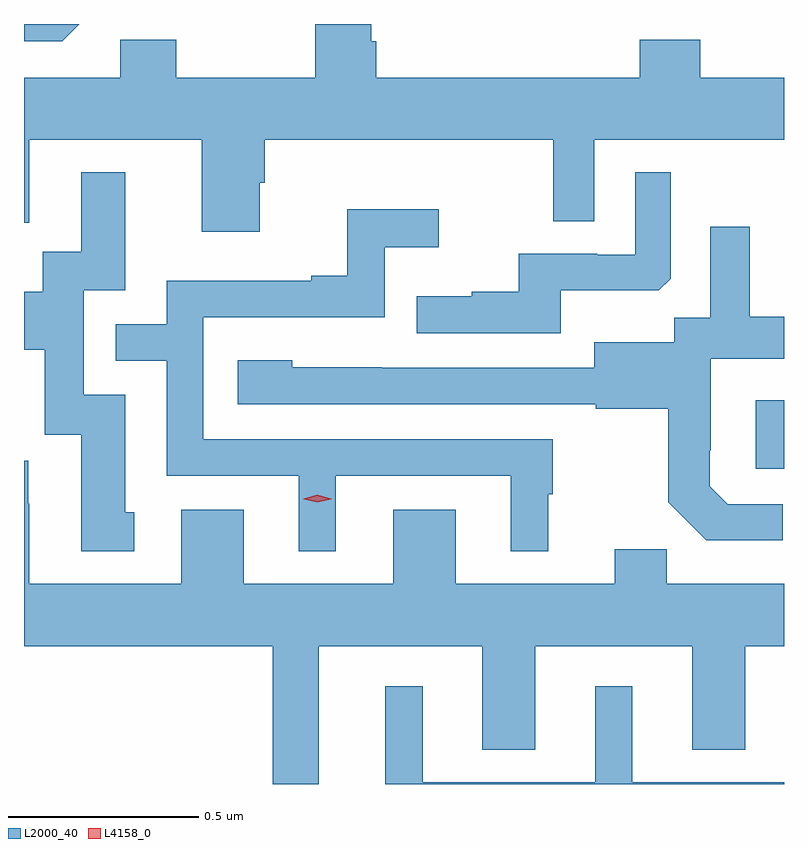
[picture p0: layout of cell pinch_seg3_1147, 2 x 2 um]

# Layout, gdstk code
import gdstk
lib = gdstk.Library(unit=1e-6, precision=1e-09)
def R(c, l, rs):  # rectangles x0, y0, x1, y1
    for r in rs: c.add(gdstk.rectangle(r[:2], r[2:], *l))
def P(c, l, *ps):  # polygons
    for p in ps: c.add(gdstk.Polygon(p, *l))
L2000_40 = (2000, 40)
L4158_0 = (4158, 0)

pinch_seg3_1147 = lib.new_cell('pinch_seg3_1147')
R(pinch_seg3_1147, L2000_40, [(169.313,741.342,169.387,741.523)])
P(pinch_seg3_1147, L2000_40, [(168.007,742.095),(168.02,742.095),(168.02,742.208),(168.78,742.208),(168.78,741.994),(168.888,741.994),(168.888,742.208),(169.387,742.208),(169.387,742.372),(169.167,742.372),(169.167,742.471),(169.007,742.471),(169.007,742.372),(168.314,742.372),(168.314,742.468),(168.301,742.468),(168.301,742.513),(168.154,742.513),(168.154,742.372),(167.787,742.372),(167.787,742.471),(167.64,742.471),(167.64,742.372),(167.387,742.372),(167.387,741.99),(167.401,741.99),(167.401,742.208),(167.855,742.208),(167.855,741.966),(168.007,741.966)],
  [(167.533,742.513),(167.387,742.513),(167.387,742.467),(167.487,742.467)],
  [(167.677,741.228),(167.653,741.228),(167.653,741.537),(167.544,741.537),(167.544,741.813),(167.653,741.813),(167.653,742.123),(167.537,742.123),(167.537,741.914),(167.436,741.914),(167.436,741.808),(167.387,741.808),(167.387,741.656),(167.441,741.656),(167.441,741.432),(167.537,741.432),(167.537,741.126),(167.677,741.126)],
  [(168.799,741.812),(169.057,741.812),(169.089,741.843),(169.089,742.123),(168.996,742.123),(168.996,741.906),(168.896,741.906),(168.896,741.909),(168.689,741.909),(168.689,741.808),(168.565,741.808),(168.565,741.796),(168.421,741.796),(168.421,741.699),(168.799,741.699)],
  [(168.208,741.324),(168.668,741.324),(168.668,741.125),(168.766,741.125),(168.766,741.276),(168.778,741.276),(168.778,741.42),(167.859,741.42),(167.859,741.741),(168.336,741.741),(168.336,741.926),(168.478,741.926),(168.478,742.025),(168.238,742.025),(168.238,741.85),(168.143,741.85),(168.143,741.837),(167.763,741.837),(167.763,741.723),(167.629,741.723),(167.629,741.627),(167.763,741.627),(167.763,741.324),(168.11,741.324),(168.11,741.125),(168.208,741.125)],
  [(169.384,741.249),(169.239,741.249),(169.192,741.296),(169.192,741.391),(169.194,741.391),(169.194,741.632),(169.387,741.632),(169.387,741.742),(169.297,741.742),(169.297,741.979),(169.193,741.979),(169.193,741.74),(169.098,741.74),(169.098,741.676),(168.887,741.676),(168.887,741.609),(168.329,741.609),(168.329,741.61),(168.093,741.61),(168.093,741.628),(167.949,741.628),(167.949,741.513),(168.891,741.513),(168.891,741.501),(169.083,741.501),(169.083,741.255),(169.183,741.155),(169.384,741.155)],
  [(168.163,740.876),(168.593,740.876),(168.593,740.603),(168.733,740.603),(168.733,740.876),(169.145,740.876),(169.145,740.603),(169.285,740.603),(169.285,740.876),(169.387,740.876),(169.387,741.04),(169.079,741.04),(169.079,741.131),(168.941,741.131),(168.941,741.04),(168.523,741.04),(168.523,741.235),(168.359,741.235),(168.359,741.04),(167.965,741.04),(167.965,741.235),(167.801,741.235),(167.801,741.04),(167.401,741.04),(167.401,741.251),(167.398,741.251),(167.398,741.364),(167.387,741.364),(167.387,740.876),(168.042,740.876),(168.042,740.513),(168.163,740.513)],
  [(169.387,740.518),(168.988,740.518),(168.988,740.77),(168.89,740.77),(168.89,740.518),(168.436,740.518),(168.436,740.77),(168.338,740.77),(168.338,740.513),(169.387,740.513)])
P(pinch_seg3_1147, L4158_0, [(168.159,741.254),(168.123,741.263),(168.123,741.264),(168.123,741.264),(168.159,741.274),(168.195,741.264),(168.195,741.264),(168.195,741.263)])

lib.write_gds('pinch_seg3_1147.gds')
